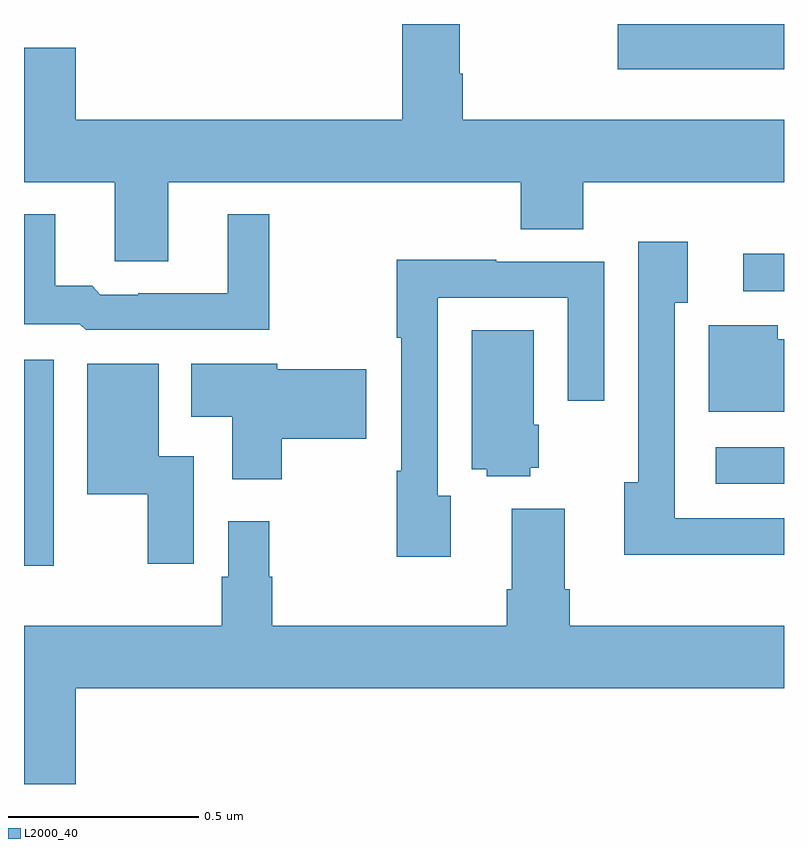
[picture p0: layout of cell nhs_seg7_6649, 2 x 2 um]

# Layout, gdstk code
import gdstk
lib = gdstk.Library(unit=1e-6, precision=1e-09)
def R(c, l, rs):  # rectangles x0, y0, x1, y1
    for r in rs: c.add(gdstk.rectangle(r[:2], r[2:], *l))
def P(c, l, *ps):  # polygons
    for p in ps: c.add(gdstk.Polygon(p, *l))
L2000_40 = (2000, 40)

nhs_seg7_6649 = lib.new_cell('nhs_seg7_6649')
R(nhs_seg7_6649, L2000_40, [(201,1031.574,201.078,1032.117), (202.821,1031.79,203,1031.886), (202.893,1032.297,203,1032.395), (202.563,1032.881,203,1033)])
P(nhs_seg7_6649, L2000_40, [(201.379,1032.584),(202.307,1032.584),(202.307,1032.46),(202.472,1032.46),(202.472,1032.584),(203,1032.584),(203,1032.748),(202.155,1032.748),(202.155,1032.869),(202.147,1032.869),(202.147,1033),(201.995,1033),(201.995,1032.748),(201.136,1032.748),(201.136,1032.937),(201,1032.937),(201,1032.584),(201.239,1032.584),(201.239,1032.376),(201.379,1032.376)],
  [(201.646,1032.499),(201.536,1032.499),(201.536,1032.291),(201.301,1032.291),(201.301,1032.288),(201.201,1032.288),(201.179,1032.311),(201.082,1032.311),(201.082,1032.499),(201,1032.499),(201,1032.21),(201.147,1032.21),(201.162,1032.195),(201.646,1032.195)],
  [(203,1031.7),(202.713,1031.7),(202.713,1032.266),(202.747,1032.266),(202.747,1032.427),(202.617,1032.427),(202.617,1031.794),(202.58,1031.794),(202.58,1031.603),(203,1031.603)],
  [(202.123,1031.759),(202.089,1031.759),(202.089,1032.279),(202.431,1032.279),(202.431,1032.009),(202.527,1032.009),(202.527,1032.375),(202.243,1032.375),(202.243,1032.379),(201.981,1032.379),(201.981,1032.175),(201.993,1032.175),(201.993,1031.825),(201.981,1031.825),(201.981,1031.598),(202.123,1031.598)],
  [(203,1032.171),(202.983,1032.171),(202.983,1032.207),(202.802,1032.207),(202.802,1031.979),(203,1031.979)],
  [(202.332,1031.832),(202.354,1031.832),(202.354,1031.946),(202.342,1031.946),(202.342,1032.194),(202.178,1032.194),(202.178,1031.828),(202.218,1031.828),(202.218,1031.81),(202.332,1031.81)],
  [(201.678,1031.909),(201.901,1031.909),(201.901,1032.092),(201.666,1032.092),(201.666,1032.106),(201.44,1032.106),(201.44,1031.966),(201.548,1031.966),(201.548,1031.802),(201.678,1031.802)],
  [(201.447,1031.863),(201.355,1031.863),(201.355,1032.106),(201.167,1032.106),(201.167,1031.762),(201.326,1031.762),(201.326,1031.58),(201.447,1031.58)],
  [(201.136,1031.252),(203,1031.252),(203,1031.416),(202.436,1031.416),(202.436,1031.512),(202.423,1031.512),(202.423,1031.725),(202.283,1031.725),(202.283,1031.512),(202.271,1031.512),(202.271,1031.416),(201.653,1031.416),(201.653,1031.546),(201.646,1031.546),(201.646,1031.692),(201.537,1031.692),(201.537,1031.546),(201.521,1031.546),(201.521,1031.416),(201,1031.416),(201,1031),(201.136,1031)])

lib.write_gds('nhs_seg7_6649.gds')
